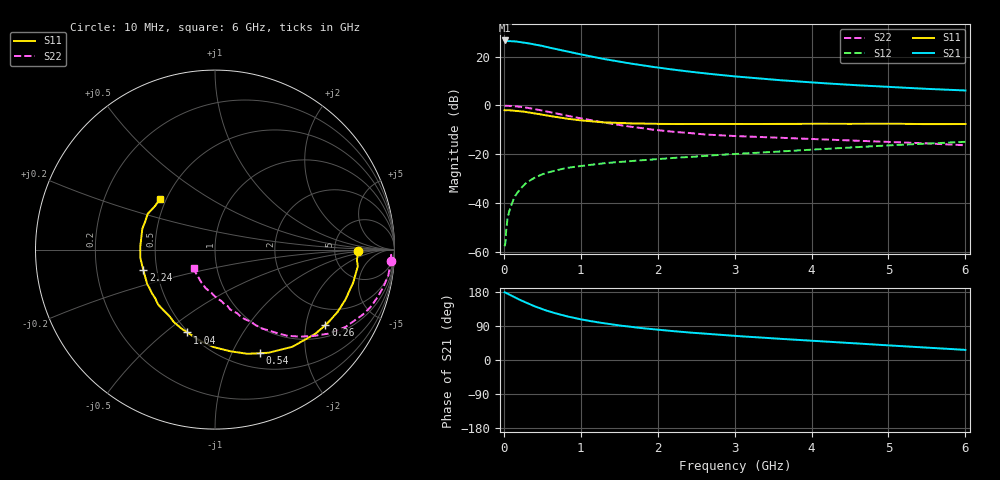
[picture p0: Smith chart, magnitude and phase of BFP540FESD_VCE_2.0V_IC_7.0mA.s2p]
! Infineon Technologies  Discrete & RF Semiconductors
! BFP540FESD
! VCE =  2.0 V,  IC =  7.0 mA
! Common Emitter S-Parameters:  Nov 2015
# GHz  S  MA  R  50
!  f  S11  S21  S12  S22
! GHz  MAG  ANG  MAG  ANG  MAG  ANG  MAG  ANG
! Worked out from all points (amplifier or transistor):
!   210 points, 10 MHz to 6 GHz, reference 50 ohm
!   highest |S21| = 26.6 dB at 10 MHz (marker M1)
!   |S21| within 3 dB of that: start of sweep to 601.2 MHz
!   unconditionally stable (mu >= 1): 2.452 GHz to end of sweep
!   at 185 MHz: K = 0.11, MSG = 30.8 dB, |S12| = -35.4 dB
!   at 1.52 GHz: K = 0.74, MSG = 20.5 dB, |S12| = -23.2 dB
!   at 6 GHz: K = 1.26, MAG = 7.5 dB, |S12| = -14.9 dB
!   S11 on the Smith chart (normalised r, x): 10 MHz: 8.84, -0.41; 260 MHz: 1.37, -2.59; 540 MHz: 0.68, -1.29; 1.04 GHz: 0.49, -0.60; 2.24 GHz: 0.42, -0.12; 6 GHz: 0.46, +0.31
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0.01  0.7972 -0.6  21.49 178.5  0.0013 91.1  0.9848 -3.6
0.02  0.793 -4.3  20.95 177.9  0.0015 83.1  0.9817 -1.7
0.05  0.8011 -6.6  20.92 174.9  0.005 85.7  0.9809 -4.2
0.15  0.7781 -21.0  20.58 164.8  0.0141 80.7  0.9611 -12.5
0.2  0.7667 -26.8  20.07 159.5  0.0181 77.7  0.9426 -16.5
0.26  0.745 -34.4  19.48 154.1  0.0231 74.3  0.9184 -21.1
0.3  0.7301 -39.9  19.08 150.2  0.0265 72.9  0.8983 -23.9
0.4  0.6923 -51.4  17.84 141.7  0.0329 66.4  0.845 -30.7
0.5  0.6477 -62.5  16.59 134.0  0.0387 62.0  0.7845 -36.7
0.54  0.6297 -66.4  16.02 131.4  0.0405 60.5  0.7607 -38.5
0.6  0.6085 -72.6  15.23 127.2  0.0433 58.6  0.7267 -41.5
0.8  0.5431 -90.9  12.98 116.1  0.0517 53.1  0.6254 -50.1
1.02  0.49 -107.0  10.95 106.7  0.0578 50.3  0.5357 -56.8
1.04  0.4866 -108.5  10.79 105.9  0.0584 50.0  0.5288 -57.5
1.2  0.4641 -119.7  9.59 100.1  0.0625 47.9  0.4755 -61.9
1.5  0.4405 -136.0  7.893 91.2  0.0691 46.1  0.398 -69.1
2.02  0.418 -157.8  5.927 79.5  0.0798 44.5  0.3086 -80.2
2.24  0.4154 -163.9  5.333 75.5  0.0846 44.1  0.2848 -83.9
3.1  0.4161 176.3  3.825 62.3  0.1027 42.9  0.2326 -98.4
4.1  0.4205 162.8  2.893 49.7  0.127 40.7  0.2024 -110.7
5.1  0.4218 150.6  2.356 37.4  0.1542 35.8  0.1761 -123.1
6  0.4153 137.6  2.025 26.7  0.1793 30.4  0.1523 -139.0
